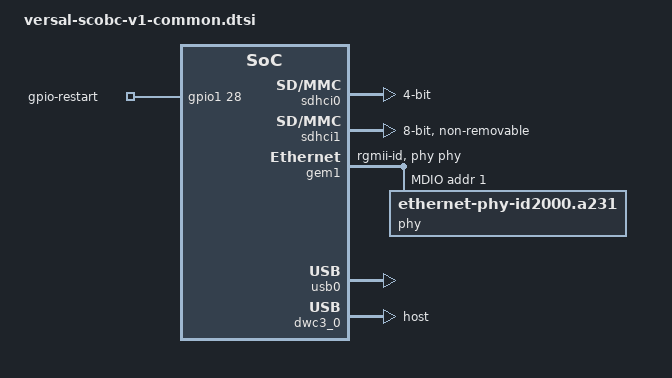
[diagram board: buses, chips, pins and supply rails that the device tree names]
// SPDX-License-Identifier: GPL-2.0
/*
 * Space Cubics SC-OBC Module V1
 * Copyright (C) 2026 Space Cubics Inc.
 */

&sdhci0 {
	bus-width = <4>;
	disable-wp;
};

&sdhci1 {
	bus-width = <8>;
	non-removable;
};

&gem1 {
	status = "okay";
	iommus = <&smmu 0x235>;
	phy-handle = <&phy>;
	phy-mode = "rgmii-id";

	mdio: mdio {
		#address-cells = <1>;
		#size-cells = <0>;
		phy: ethernet-phy@1 {
			compatible = "ethernet-phy-id2000.a231";
			reg = <1>;
			ti,rx-internal-delay = <0x6>; /* 1.75 ns */
			ti,tx-internal-delay = <0x6>; /* 1.75 ns */
		};
	};
};

&usb0 {
	status = "okay";
};

&dwc3_0 {
	status = "okay";
	dr_mode = "host";
	maximum-speed = "high-speed";
	snps,dis_u2_susphy_quirk;
	snps,dis_u3_susphy_quirk;
	snps,usb3_lpm_capable;
};

/ {
	gpio-restart {
		compatible = "gpio-restart";
		gpios = <&gpio1 28 0>;
		active-delay = <2000>; /* Assert reset pin for 2000 ms */
		priority = <130>; /* 1 Higher than PSCI reset(129) */
	};
};
